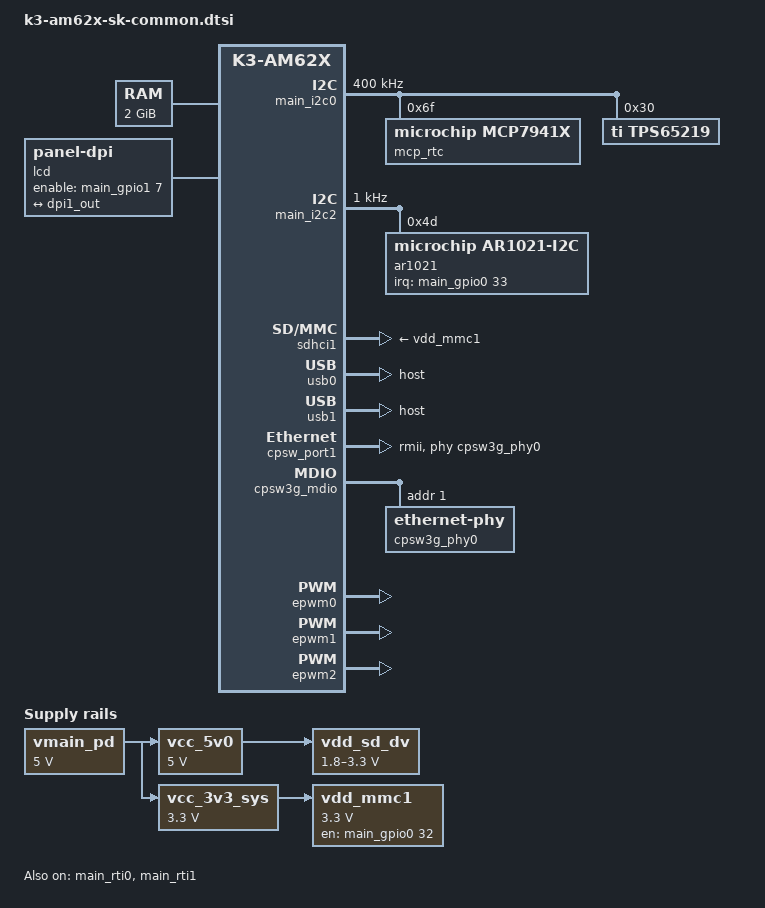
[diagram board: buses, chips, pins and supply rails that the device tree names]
// SPDX-License-Identifier: GPL-2.0
/*
 * Common dtsi for AM62x SK and derivatives
 *
 * Copyright (C) 2021-2022 Texas Instruments Incorporated - https://www.ti.com/
 */

/ {
	aliases {
		serial2 = &main_uart0;
		mmc0 = &sdhci0;
		mmc1 = &sdhci1;
		mmc2 = &sdhci2;
		spi0 = &ospi0;
		usb0 = &usb0;
		usb1 = &usb1;
		ethernet0 = &cpsw_port1;
		ethernet1 = &cpsw_port2;
		rtc0 = &mcp_rtc;
	};

	chosen {
		stdout-path = "serial2:115200n8";
		bootargs = "console=ttyS2,115200n8 earlycon=ns16550a,mmio32,0x02800000";
	};

	memory@80000000 {
		device_type = "memory";
		/* 2G RAM */
		reg = <0x00000000 0x80000000 0x00000000 0x80000000>;

	};

	reserved-memory {
		#address-cells = <2>;
		#size-cells = <2>;
		ranges;

		rtos_ipc_memory_region: ipc-memories@9c800000 {
			compatible = "shared-dma-pool";
			reg = <0x00 0x9c800000 0x00 0x00300000>;
			no-map;
		};

		mcu_m4fss_dma_memory_region: m4f-dma-memory@9cb00000 {
			compatible = "shared-dma-pool";
			reg = <0x00 0x9cb00000 0x00 0x100000>;
			no-map;
		};

		mcu_m4fss_memory_region: m4f-memory@9cc00000 {
			compatible = "shared-dma-pool";
			reg = <0x00 0x9cc00000 0x00 0xe00000>;
			no-map;
		};

		wkup_r5fss0_core0_dma_memory_region: r5f-dma-memory@9da00000 {
			compatible = "shared-dma-pool";
			reg = <0x00 0x9da00000 0x00 0x00100000>;
			no-map;
		};

		wkup_r5fss0_core0_memory_region: r5f-memory@9db00000 {
			compatible = "shared-dma-pool";
			reg = <0x00 0x9db00000 0x00 0x00c00000>;
			no-map;
		};

		lpm_ctx_ddr: lpm-memory@9e700000 {
			reg = <0x00 0x9e700000 0x00 0x80000>;
			alignment = <0x1000>;
		};

		secure_tfa_ddr: tfa@9e780000 {
			reg = <0x00 0x9e780000 0x00 0x80000>;
			alignment = <0x1000>;
			no-map;
		};

		secure_ddr: optee@9e800000 {
			reg = <0x00 0x9e800000 0x00 0x01800000>; /* for OP-TEE */
			alignment = <0x1000>;
			no-map;
		};
	};

	vmain_pd: regulator-0 {
		/* TPS65988 PD CONTROLLER OUTPUT */
		compatible = "regulator-fixed";
		regulator-name = "vmain_pd";
		regulator-min-microvolt = <5000000>;
		regulator-max-microvolt = <5000000>;
		regulator-always-on;
		regulator-boot-on;
	};

	vcc_5v0: regulator-1 {
		/* Output of TPS630702 */
		compatible = "regulator-fixed";
		regulator-name = "vcc_5v0";
		regulator-min-microvolt = <5000000>;
		regulator-max-microvolt = <5000000>;
		vin-supply = <&vmain_pd>;
		regulator-always-on;
		regulator-boot-on;
	};

	vcc_3v3_sys: regulator-2 {
		/* output of LM61460-Q1 */
		compatible = "regulator-fixed";
		regulator-name = "vcc_3v3_sys";
		regulator-min-microvolt = <3300000>;
		regulator-max-microvolt = <3300000>;
		vin-supply = <&vmain_pd>;
		regulator-always-on;
		regulator-boot-on;
	};

	vdd_mmc1: regulator-3 {
		// AM62SK EVM - SoC eFuse Voltage(VPP=1.8V) Regulator Enable)
		/* TPS22918DBVR */
		compatible = "regulator-fixed";
		regulator-name = "vdd_mmc1";
		pinctrl-names = "default";
		pinctrl-0 = <&vdd_mmc1_pins_default>;
		regulator-min-microvolt = <3300000>;
		regulator-max-microvolt = <3300000>;
		regulator-boot-on;
		enable-active-high;
		vin-supply = <&vcc_3v3_sys>;
		//gpio = <&exp1 3 GPIO_ACTIVE_HIGH>;		// VPP_LDO_EN (TLV75518PDQNR) - AM62SK EVM
		gpio = <&main_gpio0 32 GPIO_ACTIVE_HIGH>;	// VPP_1VP_EN (TLV75518PDBVR) - 입금기
	};

	vdd_sd_dv: regulator-4 {
		// AM62SK EVM - SD Card IO Voltage Select
		/* Output of TLV71033 */
		compatible = "regulator-gpio";
		//regulator-name = "tlv71033";
		regulator-name = "tps65219-LDO1-SEL-SD";
		pinctrl-names = "default";
		pinctrl-0 = <&vdd_sd_dv_pins_default>;
		regulator-min-microvolt = <1800000>;
		regulator-max-microvolt = <3300000>;
		regulator-boot-on;
		vin-supply = <&vcc_5v0>;
		//gpios = <&main_gpio0 31 GPIO_ACTIVE_HIGH>;	// VSEL_SD (TLV7103318QDSERQ1) - AM62SK EVM
		gpios = <&main_gpio0 42 GPIO_ACTIVE_HIGH>;		// VSEL_SD/VSEL_DDR - 입금기
		states = <1800000 0x0>,
			 <3300000 0x1>;
	};

	/*
	vcc_1v8: regulator-7 {
		// output of TPS6282518DMQ
		compatible = "regulator-fixed";
		regulator-name = "vcc_1v8";
		regulator-min-microvolt = <1800000>;
		regulator-max-microvolt = <1800000>;
		vin-supply = <&vcc_3v3_sys>;
		regulator-always-on;
		regulator-boot-on;
	};

	// For TVL320AIC3106 Audio Codec (McASP1)
	tlv320_mclk: clk-0 {
		#clock-cells = <0>;
		compatible = "fixed-clock";
		clock-frequency = <12288000>;
	};
	
	codec_audio: sound {
		compatible = "simple-audio-card";
		simple-audio-card,name = "AM62x-SKEVM";
		simple-audio-card,widgets =
			"Headphone",	"Headphone Jack",
			"Line",	"Line In",
			"Microphone",	"Microphone Jack";
		simple-audio-card,routing =
			"Headphone Jack",	"HPLOUT",
			"Headphone Jack",	"HPROUT",
			"LINE1L",		"Line In",
			"LINE1R",		"Line In",
			"MIC3R",		"Microphone Jack",
			"Microphone Jack",	"Mic Bias";
		simple-audio-card,format = "dsp_b";
		simple-audio-card,bitclock-master = <&sound_master>;
		simple-audio-card,frame-master = <&sound_master>;
		simple-audio-card,bitclock-inversion;

		simple-audio-card,cpu {
			sound-dai = <&mcasp1>;
		};

		sound_master: simple-audio-card,codec {
			sound-dai = <&tlv320aic3106>;
			clocks = <&tlv320_mclk>;
		};
	};

	leds {
		compatible = "pwm-leds";

		led-0 {
			label = "am62-sk:green:heartbeat";
			pwms = <&main_pwm7 0 7812500 0>;
			max-brightness = <255>;
			linux,default-trigger = "heartbeat";
			function = LED_FUNCTION_HEARTBEAT;
			default-state = "off";
		};
	};

	main_pwm7: dmtimer-main-pwm-7 {
		pinctrl-0 = <&usr_led_pins_default>;
		pinctrl-names = "default";
		compatible = "ti,omap-dmtimer-pwm";
		#pwm-cells = <3>;
		ti,timers = <&main_timer7>;
	};

	hdmi_mstrclk: hdmi-mstrclk {
		compatible = "fixed-clock";
		#clock-cells = <0>;
		clock-frequency = <12288000>;
	};

	hdmi: connector {
		compatible = "hdmi-connector";
		label = "hdmi";
		type = "a";
		port {
			hdmi_connector_in: endpoint {
				remote-endpoint = <&sii9022_out>;
			};
		};
	};
	*/


	display {
		compatible = "panel-dpi";
		label = "lcd";
		
		pinctrl-names = "default";
		pinctrl-0 = <&lcd_pins_default>;
		enable-gpios = <&main_gpio1 7 GPIO_ACTIVE_HIGH>;		// (B19) AM6232_LCD_DISP

		panel-timing {
            // 20211227 클리어 디스플레이 LCD 조치 이후
            clock-frequency = <9000000>;   // 9 Mhz (Min. 4 Mhz) for N3/NTMini/NTA
			hactive = <480>;
			vactive = <272>;
			hfront-porch = <8>;
			hback-porch = <43>;
			vfront-porch = <8>;
			vback-porch = <12>;
			hsync-len = <4>;
			vsync-len = <4>;
			hsync-active = <0>;
			vsync-active = <0>;
            bpp = <16>;
            de-active = <1>;
            pixelclk-active = <1>;
        };

		port {
			lcd_in: endpoint {
				// NOTE::2023-04-21
				//https://lore.kernel.org/lkml/20220628181838.2031-1-max.oss.09@gmail.com/T/
				remote-endpoint = <&dpi1_out>;
				data-lines = <16>;	// RGB565
			};
		};
	};

	kisan_common {
		compatible = "kisan_common";
		status = "okay";
		
		UDP_PORT = <7890>;
		SIG_NUM  = <44>;
	};

	kisan_gpio_intr {
		compatible = "kisan_gpio_intr";
		status = "okay";

		pinctrl-names = "default";
		pinctrl-0 = <&kisan_gpio_intr_pins_default>;

		mode = <0>;
		gpio-key-fpga = <0>;	// 2023-05-17 현재 미사용
		//gpio-key-fpga = <399>;	// H24 CPU_BOARD_VER0 (GPIO0_0) 임시 테스트
	};

	kisan_gpio_handler {
		compatible = "kisan_gpio_handler";
		status = "okay";

		pinctrl-names = "default";
		pinctrl-0 = <&kisan_gpio_handler_pins_default>;
	};
};

&main_pmx0 {
	main_uart0_pins_default: main-uart0-pins-default {
		pinctrl-single,pins = <
			AM62X_IOPAD(0x1c8, PIN_INPUT, 0) /* (D14) UART0_RXD */
			AM62X_IOPAD(0x1cc, PIN_OUTPUT, 0) /* (E14) UART0_TXD */
		>;
	};

	main_i2c0_pins_default: main-i2c0-pins-default {
		pinctrl-single,pins = <
			AM62X_IOPAD(0x1e0, PIN_INPUT_PULLUP, 0) /* (B16) I2C0_SCL */
			AM62X_IOPAD(0x1e4, PIN_INPUT_PULLUP, 0) /* (A16) I2C0_SDA */
		>;
	};

	/*
	main_i2c1_pins_default: main-i2c1-pins-default {
		pinctrl-single,pins = <
			AM62X_IOPAD(0x1e8, PIN_INPUT_PULLUP, 0) // (B17) I2C1_SCL
			AM62X_IOPAD(0x1ec, PIN_INPUT_PULLUP, 0) // (A17) I2C1_SDA
		>;
	};
	*/

	main_i2c2_pins_default: main-i2c2-pins-default {
		pinctrl-single,pins = <
			AM62X_IOPAD(0x0b0, PIN_INPUT_PULLUP, 1) /* (K22) GPMC0_CSn2.I2C2_SCL */
			AM62X_IOPAD(0x0b4, PIN_INPUT_PULLUP, 1) /* (K24) GPMC0_CSn3.I2C2_SDA */
		>;
	};

	// iNAND eMMC
	main_mmc0_pins_default: main-mmc0-pins-default {
		pinctrl-single,pins = <
			AM62X_IOPAD(0x220, PIN_INPUT, 0) // (Y3) MMC0_CMD
			AM62X_IOPAD(0x218, PIN_INPUT, 0) // (AB1) MMC0_CLK
			AM62X_IOPAD(0x214, PIN_INPUT, 0) // (AA2) MMC0_DAT0
			AM62X_IOPAD(0x210, PIN_INPUT, 0) // (AA1) MMC0_DAT1
			AM62X_IOPAD(0x20c, PIN_INPUT, 0) // (AA3) MMC0_DAT2
			AM62X_IOPAD(0x208, PIN_INPUT, 0) // (Y4) MMC0_DAT3
			AM62X_IOPAD(0x204, PIN_INPUT, 0) // (AB2) MMC0_DAT4
			AM62X_IOPAD(0x200, PIN_INPUT, 0) // (AC1) MMC0_DAT5
			AM62X_IOPAD(0x1fc, PIN_INPUT, 0) // (AD2) MMC0_DAT6
			AM62X_IOPAD(0x1f8, PIN_INPUT, 0) // (AC2) MMC0_DAT7
		>;
	};
	
	// Micro SD
	main_mmc1_pins_default: main-mmc1-pins-default {
		pinctrl-single,pins = <
			AM62X_IOPAD(0x23c, PIN_INPUT, 0) /* (A21) MMC1_CMD */
			AM62X_IOPAD(0x234, PIN_INPUT, 0) /* (B22) MMC1_CLK */
			AM62X_IOPAD(0x230, PIN_INPUT, 0) /* (A22) MMC1_DAT0 */
			AM62X_IOPAD(0x22c, PIN_INPUT, 0) /* (B21) MMC1_DAT1 */
			AM62X_IOPAD(0x228, PIN_INPUT, 0) /* (C21) MMC1_DAT2 */
			AM62X_IOPAD(0x224, PIN_INPUT, 0) /* (D22) MMC1_DAT3 */
			AM62X_IOPAD(0x240, PIN_INPUT, 0) /* (D17) MMC1_SDCD */
		>;
	};

	/*
	main_mmc2_pins_default: main-mmc2-pins-default {
		pinctrl-single,pins = <
			AM62X_IOPAD(0x120, PIN_INPUT, 0) // (C24) MMC2_CMD
			AM62X_IOPAD(0x118, PIN_INPUT, 0) // (D25) MMC2_CLK
			AM62X_IOPAD(0x114, PIN_INPUT, 0) // (B24) MMC2_DAT0
			AM62X_IOPAD(0x110, PIN_INPUT, 0) // (C25) MMC2_DAT1
			AM62X_IOPAD(0x10c, PIN_INPUT, 0) // (E23) MMC2_DAT2
			AM62X_IOPAD(0x108, PIN_INPUT, 0) // (D24) MMC2_DAT3
			AM62X_IOPAD(0x11c, PIN_INPUT, 0) // (#N/A) MMC2_CLKB
		>;
	};
	
	main_wlirq_pins_default: main-wlirq-pins-default {
		pinctrl-single,pins = <
			AM62X_IOPAD(0x128, PIN_INPUT, 7) // (B23) MMC2_SDWP.GPIO0_72
		>;
	};

	usr_led_pins_default: usr-led-pins-default {
		pinctrl-single,pins = <
			AM62X_IOPAD(0x244, PIN_OUTPUT, 2) // (C17) MMC1_SDWP.TIMER_IO7
		>;
	};
	*/

	main_mdio1_pins_default: main-mdio1-pins-default {
		pinctrl-single,pins = <
			AM62X_IOPAD(0x160, PIN_OUTPUT, 0) // (AD24) MDIO0_MDC
			AM62X_IOPAD(0x15c, PIN_INPUT, 0) // (AB22) MDIO0_MDIO
		>;
	};

	main_rgmii1_pins_default: main-rgmii1-pins-default {
		pinctrl-single,pins = <
			AM62X_IOPAD(0x14c, PIN_INPUT, 1) // (AB17) RGMII1_RD0.RMII1_RXD0		// AM3356_RMII1_RXD0
			AM62X_IOPAD(0x150, PIN_INPUT, 1) // (AC17) RGMII1_RD1.RMII1_RXD1		// AM3356_RMII1_RXD1
			AM62X_IOPAD(0x148, PIN_INPUT, 1) // (AD17) RGMII1_RXC.RMII1_REF_CLK		// AM3356_RMII1_REF_CLK
			AM62X_IOPAD(0x144, PIN_INPUT, 1) // (AE17) RGMII1_RX_CTL.RMII1_RX_ER	// AM3356_RMII1_RXER

			AM62X_IOPAD(0x134, PIN_OUTPUT, 1) // (AE20) RGMII1_TD0.RMII1_TXD0		// AM3356_RMII1_TXD0
			AM62X_IOPAD(0x138, PIN_OUTPUT, 1) // (AD20) RGMII1_TD1.RMII1_TXD1		// AM3356_RMII1_TXD1
			AM62X_IOPAD(0x130, PIN_INPUT, 1) // (AE19) RGMII1_TXC.RMII1_CRS_DV		// AM3356_RMII1_CRS_DV
			AM62X_IOPAD(0x12c, PIN_OUTPUT, 1) // (AD19) RGMII1_TX_CTL.RMII1_TX_EN	// AM3356_RMII1_TXEN
			
			AM62X_IOPAD(0x174, PIN_OUTPUT, 7) // (AD21) RGMII2_TD2.GPIO0_91 		// LAN8710_RESET *****

			/*
			AM62X_IOPAD(0x154, PIN_INPUT, 0) // (AB16) RGMII1_RD2
			AM62X_IOPAD(0x158, PIN_INPUT, 0) // (AA15) RGMII1_RD3
			AM62X_IOPAD(0x13c, PIN_OUTPUT, 0) // (AE18) RGMII1_TD2
			AM62X_IOPAD(0x140, PIN_OUTPUT, 0) // (AD18) RGMII1_TD3
			*/
		>;
	};

	/*
	main_rgmii2_pins_default: main-rgmii2-pins-default {
		pinctrl-single,pins = <
			AM62X_IOPAD(0x184, PIN_INPUT, 0) // (AE23) RGMII2_RD0
			AM62X_IOPAD(0x188, PIN_INPUT, 0) // (AB20) RGMII2_RD1
			//AM62X_IOPAD(0x18c, PIN_INPUT, 0) // (AC21) RGMII2_RD2
			//AM62X_IOPAD(0x190, PIN_INPUT, 0) // (AE22) RGMII2_RD3
			AM62X_IOPAD(0x180, PIN_INPUT, 0) // (AD23) RGMII2_RXC
			AM62X_IOPAD(0x17c, PIN_INPUT, 0) // (AD22) RGMII2_RX_CTL
			AM62X_IOPAD(0x16c, PIN_OUTPUT, 0) // (Y18) RGMII2_TD0
			AM62X_IOPAD(0x170, PIN_OUTPUT, 0) // (AA18) RGMII2_TD1
			//AM62X_IOPAD(0x174, PIN_OUTPUT, 0) // (AD21) RGMII2_TD2 // LAN8710_RESET *****
			//AM62X_IOPAD(0x178, PIN_OUTPUT, 0) // (AC20) RGMII2_TD3
			AM62X_IOPAD(0x168, PIN_OUTPUT, 0) // (AE21) RGMII2_TXC
			AM62X_IOPAD(0x164, PIN_OUTPUT, 0) // (AA19) RGMII2_TX_CTL
		>;
	};
	*/

	/*
	ospi0_pins_default: ospi0-pins-default {
		pinctrl-single,pins = <
			AM62X_IOPAD(0x000, PIN_OUTPUT, 0) // (H24) OSPI0_CLK
			AM62X_IOPAD(0x02c, PIN_OUTPUT, 0) // (F23) OSPI0_CSn0
			AM62X_IOPAD(0x00c, PIN_INPUT, 0) // (E25) OSPI0_D0
			AM62X_IOPAD(0x010, PIN_INPUT, 0) // (G24) OSPI0_D1
			AM62X_IOPAD(0x014, PIN_INPUT, 0) // (F25) OSPI0_D2
			AM62X_IOPAD(0x018, PIN_INPUT, 0) // (F24) OSPI0_D3
			AM62X_IOPAD(0x01c, PIN_INPUT, 0) // (J23) OSPI0_D4
			AM62X_IOPAD(0x020, PIN_INPUT, 0) // (J25) OSPI0_D5
			AM62X_IOPAD(0x024, PIN_INPUT, 0) // (H25) OSPI0_D6
			AM62X_IOPAD(0x028, PIN_INPUT, 0) // (J22) OSPI0_D7
			AM62X_IOPAD(0x008, PIN_INPUT, 0) // (J24) OSPI0_DQS
		>;
	};
	*/

	main_dss0_pins_default: main-dss0-pins-default {
		pinctrl-single,pins = <
			AM62X_IOPAD(0x0100, PIN_OUTPUT, 0) /* (AC25) VOUT0_VSYNC */
			AM62X_IOPAD(0x00f8, PIN_OUTPUT, 0) /* (AB24) VOUT0_HSYNC */
			AM62X_IOPAD(0x0104, PIN_OUTPUT, 0) /* (AC24) VOUT0_PCLK */
			AM62X_IOPAD(0x00fc, PIN_OUTPUT, 0) /* (Y20) VOUT0_DE */
			AM62X_IOPAD(0x00b8, PIN_OUTPUT, 0) /* (U22) VOUT0_DATA0 */
			AM62X_IOPAD(0x00bc, PIN_OUTPUT, 0) /* (V24) VOUT0_DATA1 */
			AM62X_IOPAD(0x00c0, PIN_OUTPUT, 0) /* (W25) VOUT0_DATA2 */
			AM62X_IOPAD(0x00c4, PIN_OUTPUT, 0) /* (W24) VOUT0_DATA3 */
			AM62X_IOPAD(0x00c8, PIN_OUTPUT, 0) /* (Y25) VOUT0_DATA4 */
			AM62X_IOPAD(0x00cc, PIN_OUTPUT, 0) /* (Y24) VOUT0_DATA5 */
			AM62X_IOPAD(0x00d0, PIN_OUTPUT, 0) /* (Y23) VOUT0_DATA6 */
			AM62X_IOPAD(0x00d4, PIN_OUTPUT, 0) /* (AA25) VOUT0_DATA7 */
			AM62X_IOPAD(0x00d8, PIN_OUTPUT, 0) /* (V21) VOUT0_DATA8 */
			AM62X_IOPAD(0x00dc, PIN_OUTPUT, 0) /* (W21) VOUT0_DATA9 */
			AM62X_IOPAD(0x00e0, PIN_OUTPUT, 0) /* (V20) VOUT0_DATA10 */
			AM62X_IOPAD(0x00e4, PIN_OUTPUT, 0) /* (AA23) VOUT0_DATA11 */
			AM62X_IOPAD(0x00e8, PIN_OUTPUT, 0) /* (AB25) VOUT0_DATA12 */
			AM62X_IOPAD(0x00ec, PIN_OUTPUT, 0) /* (AA24) VOUT0_DATA13 */
			AM62X_IOPAD(0x00f0, PIN_OUTPUT, 0) /* (Y22) VOUT0_DATA14 */
			AM62X_IOPAD(0x00f4, PIN_OUTPUT, 0) /* (AA21) VOUT0_DATA15 */
			/*
			AM62X_IOPAD(0x005c, PIN_OUTPUT, 1) // (R24) GPMC0_AD8.VOUT0_DATA16
			AM62X_IOPAD(0x0060, PIN_OUTPUT, 1) // (R25) GPMC0_AD9.VOUT0_DATA17
			AM62X_IOPAD(0x0064, PIN_OUTPUT, 1) // (T25) GPMC0_AD10.VOUT0_DATA18
			AM62X_IOPAD(0x0068, PIN_OUTPUT, 1) // (R21) GPMC0_AD11.VOUT0_DATA19
			AM62X_IOPAD(0x006c, PIN_OUTPUT, 1) // (T22) GPMC0_AD12.VOUT0_DATA20
			AM62X_IOPAD(0x0070, PIN_OUTPUT, 1) // (T24) GPMC0_AD13.VOUT0_DATA21
			AM62X_IOPAD(0x0074, PIN_OUTPUT, 1) // (U25) GPMC0_AD14.VOUT0_DATA22
			AM62X_IOPAD(0x0078, PIN_OUTPUT, 1) // (U24) GPMC0_AD15.VOUT0_DATA23
			*/
		>;
	};

	vdd_sd_dv_pins_default: vdd-sd-dv-pins-default {
		pinctrl-single,pins = <
			//AM62X_IOPAD(0x07c, PIN_OUTPUT, 7) 	/* (P25) GPMC0_CLK.GPIO0_31 */
			/* L21 0x000f_40ac VSEL_SD/VSEL_DDR */
			AM62X_IOPAD(0x0ac, PIN_OUTPUT, 7)		/* (L21) GPMC0_CSn1.GPIO0_42 */
		>;
	};

	vdd_mmc1_pins_default: vdd-mmc1-pins-default {
		pinctrl-single,pins = <
			/* L23 0x000f_4084 VPP_1VP_EN */
			AM62X_IOPAD(0x084, PIN_OUTPUT, 7)		/* (L23) GPMC0_ADVn_ALE.GPIO0_32 */
		>;
	};

	pmic_irq_pins_default: pmic-irq-pins-default {
		pinctrl-single,pins = <
			/* D16 0x000f_41f4 EXTINTn */
			AM62X_IOPAD(0x01f4, PIN_INPUT, 0) 		/* (D16) EXTINTn.EXTINTn */
		>;
	};

	/*
	main_gpio1_ioexp_intr_pins_default: main-gpio1-ioexp-intr-pins-default {
		pinctrl-single,pins = <
			AM62X_IOPAD(0x01d4, PIN_INPUT, 7) // (B15) UART0_RTSn.GPIO1_23
		>;
	};
	*/

	main_usb1_pins_default: main-usb1-pins-default {
		pinctrl-single,pins = <
			AM62X_IOPAD(0x0258, PIN_OUTPUT, 0) /* (F18) USB1_DRVVBUS */
		>;
	};
	
	/*
	main_mcasp1_pins_default: main-mcasp1-pins-default {
		pinctrl-single,pins = <
			AM62X_IOPAD(0x0090, PIN_INPUT, 2) // (M24) GPMC0_BE0N_CLE.MCASP1_ACLKX
			AM62X_IOPAD(0x0098, PIN_INPUT, 2) // (U23) GPMC0_WAIT0.MCASP1_AFSX
			AM62X_IOPAD(0x008c, PIN_OUTPUT, 2) // (L25) GPMC0_WEN.MCASP1_AXR0
			AM62X_IOPAD(0x0084, PIN_INPUT, 2) // (L23) GPMC0_ADVN_ALE.MCASP1_AXR2
		>;
	};
	*/

	main_epwm1_pins_default: main-epwm1-pins-default {
		pinctrl-single,pins = <
			AM62X_IOPAD(0x19c, PIN_OUTPUT, 6)	// (B18) MCASP0_AXR1.EHRPWM1_A (BEEP)
		>;
	};
	
	main_epwm2_pins_default: main-epwm2-pins-default {
		pinctrl-single,pins = <
			/*
			// NOTE::2023-05-11
			// 부팅 하면서 설정 변경 (GPIO1_28 0x07 -> EHRPWM2_A 0x08)
			// devmem2 0x000f41e8 b 0x08
			*/
			//AM62X_IOPAD(0x1e8, PIN_OUTPUT, 8)	// (B17) I2C1_SCL.EHRPWM2_A (AM6232_LCD_BACKLIGHT_PWM)
			AM62X_IOPAD(0x1e8, PIN_OUTPUT, 7)	// (B17) I2C1_SCL.GPIO1_28 (AM6232_LCD_BACKLIGHT_PWM)
		>;
	};

	lcd_pins_default: lcd-pins-default {
		pinctrl-single,pins = <
			/* B19 0x000f_4194 AM6232_LCD_DISP */
			AM62X_IOPAD(0x194, PIN_OUTPUT, 7)	/* (B19) MCASP0_AXR3.GPIO1_7 */
		>;
	};

	touch_intr_pins_default: touch-intr-pins-default {
		pinctrl-single,pins = <
			// L24 0x000f_4088 TOUCH_INT
			AM62X_IOPAD(0x088, PIN_INPUT, 7)	// (L24) GPMC0_OEn_REn.GPIO0_33
		>;
	};

	kisan_gpio_intr_pins_default: kisan-gpio-intr-pins-default {
		pinctrl-single,pins = <
			// NOTE::2023-05-17
			// GPIO0_0, GPIO0_1 쇼트시켜 임시 테스트
			AM62X_IOPAD(0x000, PIN_INPUT, 7) // (H24) GPIO0_0 (CPU_BOARD_VER0)
			AM62X_IOPAD(0x004, PIN_OUTPUT, 7) // (G25) GPIO0_1 (CPU_BOARD_VER1)
		>;
	};

	kisan_gpio_handler_pins_default: kisan-gpio-handler-pins-default {
		pinctrl-single,pins = <
			//AM62X_IOPAD(0x000, PIN_OUTPUT, 7) // (H24) GPIO0_0 (CPU_BOARD_VER0)
			//AM62X_IOPAD(0x004, PIN_OUTPUT, 7) // (G25) GPIO0_1 (CPU_BOARD_VER1)
			AM62X_IOPAD(0x008, PIN_OUTPUT, 7) // (J24) GPIO0_2 (CPU_BOARD_VER2)

			AM62X_IOPAD(0x00c, PIN_OUTPUT, 7) // (E25) GPIO0_3 (VERSION0)
			AM62X_IOPAD(0x010, PIN_OUTPUT, 7) // (G24) GPIO0_4 (VERSION1)

			AM62X_IOPAD(0x02c, PIN_OUTPUT, 7) // (F23) GPIO0_11 (AM6232_STATUS_LED1)
			AM62X_IOPAD(0x034, PIN_OUTPUT, 7) // (H21) GPIO0_13 (AM6232_STATUS_LED3)
			AM62X_IOPAD(0x038, PIN_OUTPUT, 7) // (E24) GPIO0_14 (AM6232_STATUS_LED2)
			AM62X_IOPAD(0x114, PIN_OUTPUT, 7) // (B24) GPIO0_68 (AM6232_PRU_STATUS)
		>;
	};
};

&wkup_uart0 {
	/* WKUP UART0 is used by DM firmware */
	status = "reserved";
};

&mcu_uart0 {
	status = "disabled";
};

&main_uart0 {
	pinctrl-names = "default";
	pinctrl-0 = <&main_uart0_pins_default>;
};

&main_uart1 {
	/* Main UART1 is used by TIFS firmware */
	status = "reserved";
};

&main_uart2 {
	status = "disabled";
};

&main_uart3 {
	status = "disabled";
};

&main_uart4 {
	status = "disabled";
};

&main_uart5 {
	status = "disabled";
};

&main_uart6 {
	status = "disabled";
};

&mcu_i2c0 {
	status = "disabled";
};

&wkup_i2c0 {
	status = "disabled";
};

&main_i2c0 {
	pinctrl-names = "default";
	pinctrl-0 = <&main_i2c0_pins_default>;
	clock-frequency = <400000>;	// 400 khz

	mcp_rtc: rtc@6f {
		compatible = "microchip,mcp7941x";
		reg = <0x6f>;
	};


// NOTE::2023-04-20
// TPS65219 관련 참고 링크
// https://git.kernel.org/pub/scm/linux/kernel/git/broonie/regulator.git/commit/?id=8622817ccb3f545d9440ee8aae46410be0f2b625
// https://lore.kernel.org/lkml/20220913121419.15420-3-jneanne@baylibre.com/
	tps65219: pmic@30 {
		compatible = "ti,tps65219";
		reg = <0x30>;
		system-power-controller;

		pinctrl-names = "default";
		pinctrl-0 = <&pmic_irq_pins_default>;
		interrupt-parent = <&gic500>;
		interrupts = <GIC_SPI 224 IRQ_TYPE_LEVEL_HIGH>;

#if 0
		// NOTE::2023-04-21
		// buck2-supply 설정 후 부팅 시 하기의 에러로 무한 재부팅 됨...
		// [    0.927499] VCC1V8: Bringing 3300000uV into 1800000-1800000uV

		buck1-supply = <&vcc_3v3_sys>;
		buck2-supply = <&vcc_3v3_sys>;
		buck3-supply = <&vcc_3v3_sys>;
		ldo1-supply = <&vcc_3v3_sys>;
		ldo2-supply = <&buck2_reg>;
		ldo3-supply = <&vcc_3v3_sys>;
		ldo4-supply = <&vcc_3v3_sys>;

		regulators {
			buck1_reg: buck1 {
				regulator-name = "VDD_CORE";
				regulator-min-microvolt = <750000>;
				regulator-max-microvolt = <750000>;
				regulator-boot-on;
				regulator-always-on;
			};

			buck2_reg: buck2 {
				regulator-name = "VCC1V8";
				regulator-min-microvolt = <1800000>;
				regulator-max-microvolt = <1800000>;
				regulator-boot-on;
				regulator-always-on;
			};

			buck3_reg: buck3 {
#if 0
				// LPDDR4 = 1.1V
				regulator-name = "VDD_LPDDR4";
				regulator-min-microvolt = <1100000>;
				regulator-max-microvolt = <1100000>;
#else
				// DDR4 = 1.2V
				regulator-name = "VDD_DDR4";
				regulator-min-microvolt = <1200000>;
				regulator-max-microvolt = <1200000>;
#endif
				regulator-boot-on;
				regulator-always-on;
			};

			ldo1_reg: ldo1 {
				regulator-name = "VDDSHV_SD_IO_PMIC";
				regulator-min-microvolt = <3300000>;
				regulator-max-microvolt = <3300000>;
				regulator-allow-bypass;
			};

			ldo2_reg: ldo2 {
				regulator-name = "VDDAR_CORE";
				regulator-min-microvolt = <850000>;
				regulator-max-microvolt = <850000>;
				regulator-boot-on;
				regulator-always-on;
			};

			ldo3_reg: ldo3 {
				regulator-name = "VDDA_1V8";
				regulator-min-microvolt = <1800000>;
				regulator-max-microvolt = <1800000>;
				regulator-boot-on;
				regulator-always-on;
			};

			ldo4_reg: ldo4 {
				regulator-name = "VDD_PHY_2V5";
				regulator-min-microvolt = <2500000>;
				regulator-max-microvolt = <2500000>;
				regulator-boot-on;
				regulator-always-on;
			};
		};
#endif	// #if 0
	};

	/*
	typec_pd: usb-pd@3f {
		compatible = "ti,tps6598x";
		reg = <0x3f>;

		connector {
			ports {
				#address-cells = <1>;
				#size-cells = <0>;

				port@1 {
					reg = <1>;

					usb_con_hs: endpoint {
						remote-endpoint = <&typec_hs>;
					};
				};
			};
		};
	};
	*/
};


&main_i2c1 {
	status = "disabled";
	
	/*
	pinctrl-names = "default";
	pinctrl-0 = <&main_i2c1_pins_default>;
	clock-frequency = <100000>;	// 100 kHz
	*/

	/*
	exp1: gpio@22 {
		compatible = "ti,tca6424";
		reg = <0x22>;
		gpio-controller;
		#gpio-cells = <2>;
		gpio-line-names = "GPIO_CPSW2_RST", "GPIO_CPSW1_RST",
				   "PRU_DETECT", "MMC1_SD_EN",
				   "VPP_LDO_EN", "EXP_PS_3V3_En",
				   "EXP_PS_5V0_En", "EXP_HAT_DETECT",
				   "GPIO_AUD_RSTn", "GPIO_eMMC_RSTn",
				   "UART1_FET_BUF_EN", "WL_LT_EN",
				   "GPIO_HDMI_RSTn", "CSI_GPIO1",
				   "CSI_GPIO2", "PRU_3V3_EN",
				   "HDMI_INTn", "TEST_GPIO2",
				   "MCASP1_FET_EN", "MCASP1_BUF_BT_EN",
				   "MCASP1_FET_SEL", "UART1_FET_SEL",
				   "TSINT#", "IO_EXP_TEST_LED";

		interrupt-parent = <&main_gpio1>;
		interrupts = <23 IRQ_TYPE_EDGE_FALLING>;
		interrupt-controller;
		#interrupt-cells = <2>;

		pinctrl-names = "default";
		pinctrl-0 = <&main_gpio1_ioexp_intr_pins_default>;
	};

	sii9022: sii9022@3b {
		#sound-dai-cells = <0>;
		compatible = "sil,sii9022";
		reg = <0x3b>;

		clocks = <&hdmi_mstrclk>;
		clock-names = "mclk";

		interrupt-parent = <&exp1>;
		interrupts = <16 IRQ_TYPE_EDGE_FALLING>;

		sil,i2s-data-lanes = < 0 >;

		ports {
			#address-cells = <1>;
			#size-cells = <0>;

			port@0 {
				reg = <0>;

				sii9022_in: endpoint {
					remote-endpoint = <&dpi1_out>;
				};
			};

			port@1 {
				reg = <1>;

				sii9022_out: endpoint {
					remote-endpoint = <&hdmi_connector_in>;
				};
			};
		};
	};

	tlv320aic3106: audio-codec@1b {
		#sound-dai-cells = <0>;
		compatible = "ti,tlv320aic3106";
		reg = <0x1b>;
		ai3x-micbias-vg = <1>;		// 2.0V
		status = "okay";

		// Regulators
		AVDD-supply = <&vcc_3v3_sys>;
		IOVDD-supply = <&vcc_3v3_sys>;
		DRVDD-supply = <&vcc_3v3_sys>;
		DVDD-supply = <&vcc_1v8>;
	};
	*/
};

&main_i2c2 {
    pinctrl-names = "default";
    pinctrl-0 = <&main_i2c2_pins_default>;
    clock-frequency = <1000>;   // 1 kHz        // NT3 *****
	//clock-frequency = <300>;    // 0.3 kHz        // For K2A

    ar1021: ar1021@4d {
		compatible = "microchip,ar1021-i2c";
        reg = <0x4d>;

        // L24 GPMC0_OEn_REn.GPIO0_33 TOUCH_INT
		interrupt-parent = <&main_gpio0>;
        interrupts = <33 IRQ_TYPE_EDGE_RISING>;

		pinctrl-names = "default";
		pinctrl-0 = <&touch_intr_pins_default>;
    };
};

&main_i2c3 {
	status = "disabled";
};

&sdhci0 {
	// iNAND eMMC
	pinctrl-names = "default";
	pinctrl-0 = <&main_mmc0_pins_default>;
	ti,driver-strength-ohm = <50>;
	disable-wp;

	//NOTE::2023-07-21
	// HS 로 속도 제한 걸지 않으면 
	// SK EVM 보드에서 파일 write 시 running CQE recovery 문제 발생함
	no-1-8-v;	//  disable SD card HS modes.
	
	// NOTE::2023-05-09
	// https://software-dl.ti.com/processor-sdk-linux/esd/AM62X/08_06_00_42/exports/docs/linux/Foundational_Components/U-Boot/UG-Memory.html
	// Restricting to a given speed mode
	//sdhci-caps-mask = <0x00000004 0x00000000>;	// Limit to SDR50
	//sdhci-caps-mask = <0x00000006 0x00000000>;	// Limit to DDR50
	sdhci-caps-mask = <0x00000007 0x00000000>;	// Limit to SD HS
	//sdhci-caps-mask = <0x00000007 0x00200000>;	// Limit to SD legacy
};

&sdhci1 {
	/* SD/MMC */
	vmmc-supply = <&vdd_mmc1>;
	vqmmc-supply = <&vdd_sd_dv>;
	pinctrl-names = "default";
	pinctrl-0 = <&main_mmc1_pins_default>;
	ti,driver-strength-ohm = <50>;
	disable-wp;
	no-1-8-v;	//  disable SD card HS modes.
	
	// NOTE::2023-05-09
	// https://software-dl.ti.com/processor-sdk-linux/esd/AM62X/08_06_00_42/exports/docs/linux/Foundational_Components/U-Boot/UG-Memory.html
	// Restricting to a given speed mode
	//sdhci-caps-mask = <0x00000004 0x00000000>;	// Limit to SDR50
	//sdhci-caps-mask = <0x00000006 0x00000000>;	// Limit to DDR50
	sdhci-caps-mask = <0x00000007 0x00000000>;	// Limit to SD HS
	//sdhci-caps-mask = <0x00000007 0x00200000>;	// Limit to SD legacy
};

&usbss0 {
	ti,vbus-divider;
};

&usbss1 {
	ti,vbus-divider;
};

&usb0 {
	// AM6232_HOST_USB0_DP : (AD11) USB0_DP
	// AM6232_HOST_USB0_DM : (AE11) USB0_DM

	dr_mode = "host";
	/*
	#address-cells = <1>;
	#size-cells = <0>;
	usb-role-switch;

	port@1 {
		reg = <1>;

		typec_hs: endpoint {
			remote-endpoint = <&usb_con_hs>;
		};
	};
	*/
};

&usb1 {
	// AM6232_USBtoUART_USB1_DP : (AE9) USB1_DP
	// AM6232_USBtoUART_USB1_DM : (AD10) USB1_DM

	dr_mode = "host";
	/*
	pinctrl-names = "default";
	pinctrl-0 = <&main_usb1_pins_default>;
	*/
};

&cpsw3g {
	//TODO::DP83867 Gigabit PHY (CPSW RGMII) -> LAN8710A-EZK (RMII)
	pinctrl-names = "default";
	pinctrl-0 = <&main_mdio1_pins_default
		     &main_rgmii1_pins_default>;
		     //&main_rgmii2_pins_default>;
};

&cpsw_port1 {
	//TODO::DP83867 Gigabit PHY (CPSW RGMII) -> LAN8710A-EZK (RMII)
	//phy-mode = "rgmii-rxid";
	phy-handle = <&cpsw3g_phy0>;
	phy-mode = "rmii";
};

&cpsw_port2 {
	status = "disabled";
	/*
	//phy-mode = "rgmii-rxid";
	phy-handle = <&cpsw3g_phy1>;
	phy-mode = "rmii";
	*/
};

&cpsw3g_mdio {
	//TODO::DP83867 Gigabit PHY (CPSW RGMII) -> LAN8710A-EZK (RMII)
	cpsw3g_phy0: ethernet-phy@0 {
		reg = <1>;
		/*
		ti,rx-internal-delay = <DP83867_RGMIIDCTL_2_00_NS>;
		ti,fifo-depth = <DP83867_PHYCR_FIFO_DEPTH_4_B_NIB>;
		ti,min-output-impedance;
		*/
	};
	/*
	cpsw3g_phy1: ethernet-phy@1 {
		reg = <2>;
		ti,rx-internal-delay = <DP83867_RGMIIDCTL_2_00_NS>;
		ti,fifo-depth = <DP83867_PHYCR_FIFO_DEPTH_4_B_NIB>;
		ti,min-output-impedance;
	};
	*/
};

&dss {
	pinctrl-names = "default";
	pinctrl-0 = <&main_dss0_pins_default>;
};

&dss_ports {
	#address-cells = <1>;
	#size-cells = <0>;

	// vp1: Used for OLDI
	port@0 {
		reg = <0>;
		status = "disabled";
	};

	// vp2: Used as DPI Out
	port@1 {	
		reg = <1>;
		dpi1_out: endpoint {
			remote-endpoint = <&lcd_in>;
			data-lines = <16>;	// RGB565
		};
		/*
		dpi1_out: endpoint {
			remote-endpoint = <&sii9022_in>;
		};
		*/
	};
};

&mcasp0 {
	status = "disabled";
};

&mcasp1 {
	status = "disabled";
	/*
	status = "okay";
	#sound-dai-cells = <0>;

	pinctrl-names = "default";
	pinctrl-0 = <&main_mcasp1_pins_default>;

	// MCASP_IIS_MODE
	op-mode = <0>;          
	tdm-slots = <2>;

  	// 0: INACTIVE, 1: TX, 2: RX
	serial-dir = <
	       1 0 2 0
	       0 0 0 0
	       0 0 0 0
	       0 0 0 0
	>;
	tx-num-evt = <32>;
	rx-num-evt = <32>;
	*/
};

&mcasp2 {
	status = "disabled";
};

&mailbox0_cluster0 {
	mbox_m4_0: mbox-m4-0 {
		ti,mbox-rx = <0 0 0>;
		ti,mbox-tx = <1 0 0>;
	};

	mbox_r5_0: mbox-r5-0 {
		ti,mbox-rx = <2 0 0>;
		ti,mbox-tx = <3 0 0>;
	};
};

&ospi0 {
	status = "disabled";
	/*
	pinctrl-names = "default";
	pinctrl-0 = <&ospi0_pins_default>;
	*/
};

&mcu_m4fss {
	mboxes = <&mailbox0_cluster0 &mbox_m4_0>;
	memory-region = <&mcu_m4fss_dma_memory_region>,
			<&mcu_m4fss_memory_region>;
};

&wkup_r5fss0_core0 {
	mboxes = <&mailbox0_cluster0 &mbox_r5_0>;
	memory-region = <&wkup_r5fss0_core0_dma_memory_region>,
			<&wkup_r5fss0_core0_memory_region>;
};

&main_mcan0 {
	status = "disabled";
};

&mcu_rti0 {
	/* MCU RTI0 is used by M4F firmware */
	status = "reserved";
};

&wkup_rti0 {
	/* WKUP RTI0 is used by DM firmware */
	status = "reserved";
};


// NOTE::2023-05-11
// https://software-dl.ti.com/processor-sdk-linux/esd/AM62X/08_03_00_19/exports/docs/linux/Foundational_Components/Kernel/Kernel_Drivers/PWM.html
&epwm0 {
	status = "okay";
};

&epwm1 {
	pinctrl-names = "default";
	pinctrl-0 = <&main_epwm1_pins_default>;
	status = "okay";
};

&epwm2 {
	pinctrl-names = "default";
	pinctrl-0 = <&main_epwm2_pins_default>;
	status = "okay";
};

&ecap0_pwm {
	status = "disabled";
};

&ecap1_pwm {
	status = "disabled";
};

&ecap2_pwm {
	status = "disabled";
};


// NOTE::2023-05-09
// https://e2e.ti.com/support/processors-group/processors/f/processors-forum/1218039/am623-stuck-in-sd-card-after-boot-up/4622186#4622186
&main_rti0 {	// watchdog@e000000
	status = "okay";
};

&main_rti1 {	// watchdog@e010000
	status = "okay";
};

&main_rti2 {	// watchdog@e020000
	status = "disabled";
	// Internal error: synchronous external abort: 96000010 [#1] PREEMPT SMP
};

&main_rti3 {	// watchdog@e030000
	status = "disabled";
	// Internal error: synchronous external abort: 96000010 [#1] PREEMPT SMP
};

&main_rti15 {	// watchdog@e0f0000
	status = "disabled";
	// Internal error: synchronous external abort: 96000010 [#1] PREEMPT SMP
};
